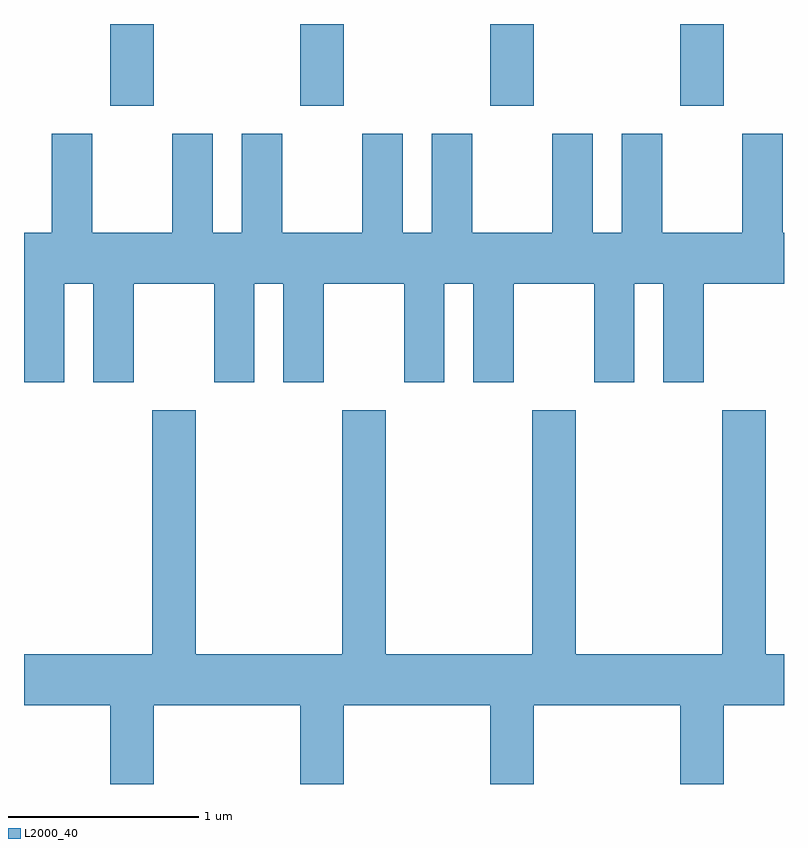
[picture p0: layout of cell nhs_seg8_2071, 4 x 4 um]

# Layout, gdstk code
import gdstk
lib = gdstk.Library(unit=1e-6, precision=1e-09)
def R(c, l, rs):  # rectangles x0, y0, x1, y1
    for r in rs: c.add(gdstk.rectangle(r[:2], r[2:], *l))
def A(c, l, x, y, w, h, nx, ny, dx, dy):  # array of equal rectangles
    R(c, l, [(x+i*dx, y+j*dy, x+i*dx+w, y+j*dy+h) for i in range(nx) for j in range(ny)])
def P(c, l, *ps):  # polygons
    for p in ps: c.add(gdstk.Polygon(p, *l))
L2000_40 = (2000, 40)

nhs_seg8_2071 = lib.new_cell('nhs_seg8_2071')
A(nhs_seg8_2071, L2000_40, 246.066, 1943.911, 0.228, 0.431, 4, 1, 1, 0)
P(nhs_seg8_2071, L2000_40, [(245.824,1942.976),(245.976,1942.976),(245.976,1942.456),(246.189,1942.456),(246.189,1942.976),(246.611,1942.976),(246.611,1942.456),(246.824,1942.456),(246.824,1942.976),(246.976,1942.976),(246.976,1942.456),(247.189,1942.456),(247.189,1942.976),(247.611,1942.976),(247.611,1942.456),(247.824,1942.456),(247.824,1942.976),(247.976,1942.976),(247.976,1942.456),(248.189,1942.456),(248.189,1942.976),(248.611,1942.976),(248.611,1942.456),(248.824,1942.456),(248.824,1942.976),(248.976,1942.976),(248.976,1942.456),(249.189,1942.456),(249.189,1942.976),(249.611,1942.976),(249.611,1943.244),(249.604,1943.244),(249.604,1943.764),(249.391,1943.764),(249.391,1943.244),(248.969,1943.244),(248.969,1943.764),(248.756,1943.764),(248.756,1943.244),(248.604,1943.244),(248.604,1943.764),(248.391,1943.764),(248.391,1943.244),(247.969,1943.244),(247.969,1943.764),(247.756,1943.764),(247.756,1943.244),(247.604,1943.244),(247.604,1943.764),(247.391,1943.764),(247.391,1943.244),(246.969,1943.244),(246.969,1943.764),(246.756,1943.764),(246.756,1943.244),(246.604,1943.244),(246.604,1943.764),(246.391,1943.764),(246.391,1943.244),(245.969,1943.244),(245.969,1943.764),(245.756,1943.764),(245.756,1943.244),(245.611,1943.244),(245.611,1942.456),(245.824,1942.456)],
  [(246.294,1940.756),(247.066,1940.756),(247.066,1940.342),(247.294,1940.342),(247.294,1940.756),(248.066,1940.756),(248.066,1940.342),(248.294,1940.342),(248.294,1940.756),(249.066,1940.756),(249.066,1940.342),(249.294,1940.342),(249.294,1940.756),(249.611,1940.756),(249.611,1941.024),(249.514,1941.024),(249.514,1942.309),(249.286,1942.309),(249.286,1941.024),(248.514,1941.024),(248.514,1942.309),(248.286,1942.309),(248.286,1941.024),(247.514,1941.024),(247.514,1942.309),(247.286,1942.309),(247.286,1941.024),(246.514,1941.024),(246.514,1942.309),(246.286,1942.309),(246.286,1941.024),(245.611,1941.024),(245.611,1940.756),(246.066,1940.756),(246.066,1940.342),(246.294,1940.342)])

lib.write_gds('nhs_seg8_2071.gds')
